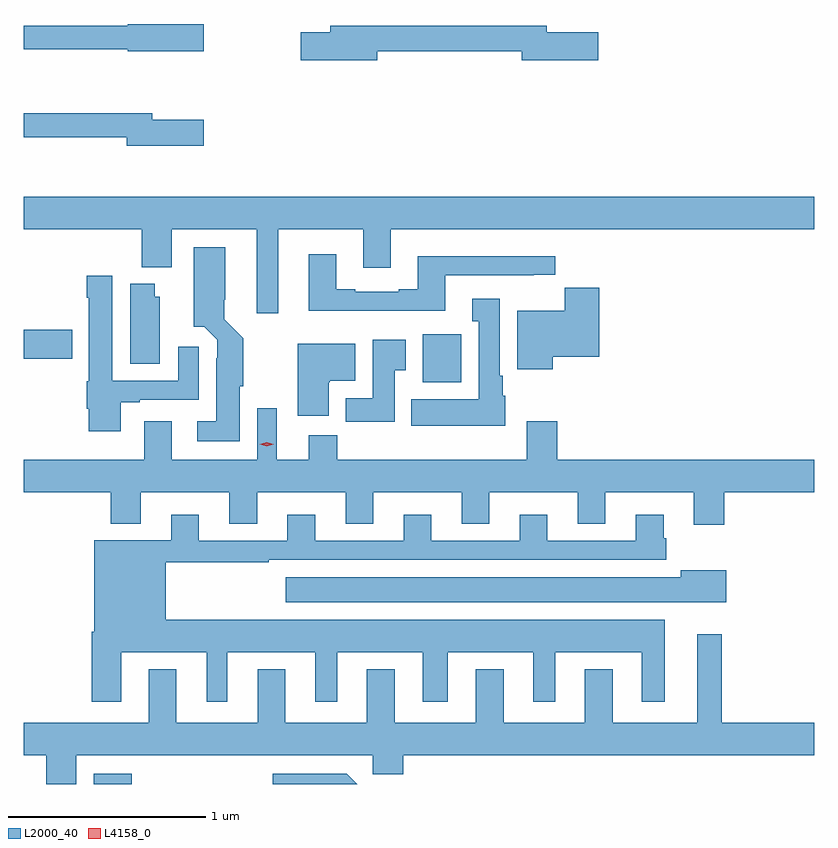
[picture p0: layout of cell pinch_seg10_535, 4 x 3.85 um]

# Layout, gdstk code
import gdstk
lib = gdstk.Library(unit=1e-6, precision=1e-09)
def R(c, l, rs):  # rectangles x0, y0, x1, y1
    for r in rs: c.add(gdstk.rectangle(r[:2], r[2:], *l))
def P(c, l, *ps):  # polygons
    for p in ps: c.add(gdstk.Polygon(p, *l))
L2000_40 = (2000, 40)
L4158_0 = (4158, 0)

pinch_seg10_535 = lib.new_cell('pinch_seg10_535')
R(pinch_seg10_535, L2000_40, [(338.115,1257.547,338.307,1257.6), (339.779,1259.582,339.976,1259.824), (337.761,1259.699,338.005,1259.846)])
P(pinch_seg10_535, L2000_40, [(338.671,1261.395),(338.286,1261.395),(338.286,1261.387),(337.761,1261.387),(337.761,1261.266),(338.286,1261.266),(338.286,1261.258),(338.671,1261.258)],
  [(339.55,1261.258),(340.28,1261.258),(340.28,1261.211),(340.669,1261.211),(340.669,1261.353),(340.408,1261.353),(340.408,1261.387),(339.311,1261.387),(339.311,1261.353),(339.162,1261.353),(339.162,1261.211),(339.55,1261.211)],
  [(338.671,1260.909),(338.41,1260.909),(338.41,1260.943),(337.761,1260.943),(337.761,1260.822),(338.282,1260.822),(338.282,1260.779),(338.671,1260.779)],
  [(339.049,1260.356),(339.479,1260.356),(339.479,1260.162),(339.619,1260.162),(339.619,1260.356),(341.761,1260.356),(341.761,1260.52),(337.761,1260.52),(337.761,1260.356),(338.357,1260.356),(338.357,1260.164),(338.509,1260.164),(338.509,1260.356),(338.939,1260.356),(338.939,1259.931),(339.049,1259.931)],
  [(338.854,1259.562),(338.872,1259.562),(338.872,1259.803),(338.775,1259.9),(338.775,1259.998),(338.779,1259.998),(338.779,1260.265),(338.621,1260.265),(338.621,1259.862),(338.673,1259.862),(338.739,1259.796),(338.739,1259.702),(338.735,1259.702),(338.735,1259.383),(338.637,1259.383),(338.637,1259.282),(338.854,1259.282)],
  [(339.895,1260.123),(340.343,1260.123),(340.343,1260.125),(340.452,1260.125),(340.452,1260.22),(339.755,1260.22),(339.755,1260.052),(339.659,1260.052),(339.659,1260.039),(339.439,1260.039),(339.439,1260.052),(339.343,1260.052),(339.343,1260.229),(339.203,1260.229),(339.203,1259.942),(339.895,1259.942)],
  [(338.251,1259.481),(338.347,1259.481),(338.347,1259.493),(338.647,1259.493),(338.647,1259.761),(338.543,1259.761),(338.543,1259.589),(338.209,1259.589),(338.209,1260.121),(338.078,1260.121),(338.078,1260.008),(338.09,1260.008),(338.09,1259.586),(338.078,1259.586),(338.078,1259.446),(338.09,1259.446),(338.09,1259.334),(338.251,1259.334)],
  [(338.449,1260.015),(338.422,1260.015),(338.422,1260.079),(338.3,1260.079),(338.3,1259.674),(338.449,1259.674)],
  [(340.438,1259.711),(340.673,1259.711),(340.673,1260.06),(340.499,1260.06),(340.499,1259.944),(340.259,1259.944),(340.259,1259.648),(340.438,1259.648)],
  [(340.198,1259.514),(340.186,1259.514),(340.186,1259.614),(340.171,1259.614),(340.171,1260.004),(340.031,1260.004),(340.031,1259.891),(340.064,1259.891),(340.064,1259.494),(339.722,1259.494),(339.722,1259.36),(340.198,1259.36)],
  [(339.637,1259.641),(339.694,1259.641),(339.694,1259.797),(339.527,1259.797),(339.527,1259.5),(339.389,1259.5),(339.389,1259.382),(339.637,1259.382)],
  [(339.304,1259.582),(339.31,1259.582),(339.31,1259.588),(339.439,1259.588),(339.439,1259.776),(339.146,1259.776),(339.146,1259.412),(339.304,1259.412)],
  [(341.306,1259.024),(341.761,1259.024),(341.761,1259.188),(340.46,1259.188),(340.46,1259.383),(340.307,1259.383),(340.307,1259.188),(339.347,1259.188),(339.347,1259.312),(339.203,1259.312),(339.203,1259.188),(339.04,1259.188),(339.04,1259.449),(338.943,1259.449),(338.943,1259.188),(338.509,1259.188),(338.509,1259.383),(338.369,1259.383),(338.369,1259.188),(337.761,1259.188),(337.761,1259.024),(338.201,1259.024),(338.201,1258.865),(338.353,1258.865),(338.353,1259.024),(338.801,1259.024),(338.801,1258.864),(338.941,1258.864),(338.941,1259.024),(339.389,1259.024),(339.389,1258.864),(339.529,1258.864),(339.529,1259.024),(339.977,1259.024),(339.977,1258.864),(340.117,1258.864),(340.117,1259.024),(340.565,1259.024),(340.565,1258.864),(340.705,1258.864),(340.705,1259.024),(341.153,1259.024),(341.153,1258.86),(341.306,1258.86)],
  [(338.254,1258.214),(338.687,1258.214),(338.687,1257.963),(338.791,1257.963),(338.791,1258.214),(339.236,1258.214),(339.236,1257.963),(339.346,1257.963),(339.346,1258.214),(339.779,1258.214),(339.779,1257.963),(339.907,1257.963),(339.907,1258.214),(340.34,1258.214),(340.34,1257.963),(340.45,1257.963),(340.45,1258.214),(340.889,1258.214),(340.889,1257.963),(341.005,1257.963),(341.005,1258.378),(338.479,1258.378),(338.479,1258.671),(338.999,1258.671),(338.999,1258.683),(341.012,1258.683),(341.012,1258.791),(340.999,1258.791),(340.999,1258.909),(340.859,1258.909),(340.859,1258.779),(340.411,1258.779),(340.411,1258.909),(340.271,1258.909),(340.271,1258.779),(339.823,1258.779),(339.823,1258.909),(339.683,1258.909),(339.683,1258.779),(339.235,1258.779),(339.235,1258.909),(339.095,1258.909),(339.095,1258.779),(338.647,1258.779),(338.647,1258.909),(338.507,1258.909),(338.507,1258.78),(338.117,1258.78),(338.117,1258.318),(338.105,1258.318),(338.105,1257.963),(338.254,1257.963)],
  [(341.317,1258.63),(341.087,1258.63),(341.087,1258.594),(339.087,1258.594),(339.087,1258.466),(341.317,1258.466)],
  [(338.026,1257.692),(339.528,1257.692),(339.528,1257.597),(339.68,1257.597),(339.68,1257.692),(341.761,1257.692),(341.761,1257.856),(341.293,1257.856),(341.293,1258.306),(341.171,1258.306),(341.171,1257.856),(340.741,1257.856),(340.741,1258.129),(340.601,1258.129),(340.601,1257.856),(340.189,1257.856),(340.189,1258.129),(340.049,1258.129),(340.049,1257.856),(339.637,1257.856),(339.637,1258.129),(339.497,1258.129),(339.497,1257.856),(339.085,1257.856),(339.085,1258.129),(338.945,1258.129),(338.945,1257.856),(338.533,1257.856),(338.533,1258.129),(338.393,1258.129),(338.393,1257.856),(337.761,1257.856),(337.761,1257.692),(337.874,1257.692),(337.874,1257.547),(338.026,1257.547)],
  [(339.394,1257.6),(339.021,1257.6),(339.021,1257.547),(339.448,1257.547)])
P(pinch_seg10_535, L4158_0, [(338.991,1259.258),(338.955,1259.268),(338.955,1259.268),(338.955,1259.268),(338.991,1259.278),(339.026,1259.268),(339.026,1259.268),(339.026,1259.268)])

lib.write_gds('pinch_seg10_535.gds')
